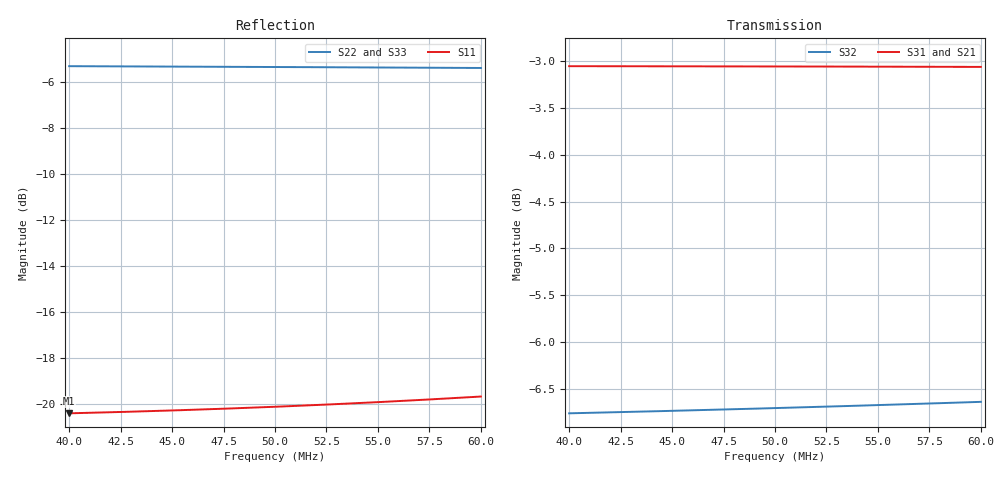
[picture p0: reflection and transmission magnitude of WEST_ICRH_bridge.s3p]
! Touchstone file from project WEST_ICRH_final_bridge_impedance-trans
! Exported from HFSS 15.0.3
!Data is not renormalized
# GHZ S MA
! Modal data exported
! Port[1] = 1:1
! Port[2] = 2:1
! Port[3] = 3:1
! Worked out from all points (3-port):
!   201 points, 40 MHz to 60 MHz, reference per port
!   strongest paths, dB at 40 MHz, 45 MHz, 50 MHz, 55 MHz, 60 MHz:
!     S31: -3.1, -3.1, -3.1, -3.1, -3.1
!     S21: -3.1, -3.1, -3.1, -3.1, -3.1
!     S32: -6.8, -6.7, -6.7, -6.7, -6.6
!   lowest |S11| = -20.4 dB at 40 MHz (marker M1), VSWR 1.21
!   |S11| at or under -10 dB: start of sweep to end of sweep
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0.04  0.09527 -54.8  0.7037 -19.7  0.7038 -19.7
      0.7037 -19.7  0.542 168.4  0.459 -17.1
      0.7038 -19.7  0.459 -17.1  0.5419 168.4
0.0426  0.09593 -58.6  0.7037 -21.0  0.7038 -21.0
        0.7037 -21.0  0.5415 167.7  0.4597 -18.2
        0.7038 -21.0  0.4597 -18.2  0.5414 167.7
0.0451  0.09667 -62.3  0.7036 -22.2  0.7037 -22.2
        0.7036 -22.2  0.5409 167.0  0.4605 -19.3
        0.7037 -22.2  0.4605 -19.3  0.5409 166.9
0.0476  0.09752 -66.0  0.7036 -23.4  0.7036 -23.5
        0.7036 -23.4  0.5404 166.3  0.4612 -20.4
        0.7036 -23.5  0.4612 -20.4  0.5403 166.2
0.05  0.09845 -69.5  0.7035 -24.6  0.7036 -24.6
      0.7035 -24.6  0.5398 165.6  0.462 -21.5
      0.7036 -24.6  0.462 -21.5  0.5397 165.5
0.0525  0.09953 -73.2  0.7034 -25.9  0.7035 -25.9
        0.7034 -25.9  0.5392 164.9  0.4628 -22.6
        0.7035 -25.9  0.4628 -22.6  0.5391 164.8
0.055  0.1008 -76.9  0.7034 -27.1  0.7034 -27.1
       0.7034 -27.1  0.5385 164.2  0.4637 -23.7
       0.7034 -27.1  0.4637 -23.7  0.5385 164.1
0.0575  0.1021 -80.6  0.7033 -28.4  0.7033 -28.4
        0.7033 -28.4  0.5379 163.4  0.4646 -24.8
        0.7033 -28.4  0.4646 -24.8  0.5378 163.4
0.0588  0.1029 -82.5  0.7032 -29.0  0.7032 -29.0
        0.7032 -29.0  0.5375 163.1  0.4651 -25.4
        0.7032 -29.0  0.4651 -25.4  0.5375 163.1
0.06  0.1036 -84.3  0.7031 -29.6  0.7032 -29.6
      0.7031 -29.6  0.5372 162.7  0.4656 -25.9
      0.7032 -29.6  0.4656 -25.9  0.5371 162.7
